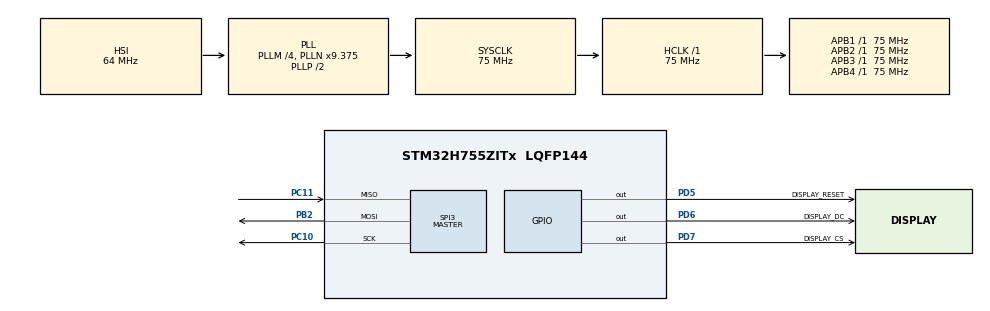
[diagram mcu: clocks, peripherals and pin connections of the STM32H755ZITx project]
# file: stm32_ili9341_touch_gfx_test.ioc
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CortexM4.IPs=FATFS_M4\:I,FREERTOS_M4\:I,IWDG2\:I,RCC,WWDG2\:I,DMA,BDMA,MDMA,NVIC2\:I,DEBUG,PDM2PCM_M4\:I,PWR,RESMGR_UTILITY,SYS_M4\:I,USB_DEVICE_M4\:I,USB_HOST_M4\:I,CORTEX_M4\:I,GPIO,OPENAMP_M4\:I,VREFBUF,LPTIM3\:I
CortexM7.IPs=FATFS_M7\:I,FREERTOS_M7\:I,IWDG1\:I,RCC\:I,WWDG1\:I,DMA\:I,BDMA\:I,MDMA\:I,NVIC1\:I,SYS\:I,CORTEX_M7\:I,DEBUG\:I,PDM2PCM_M7\:I,PWR\:I,RESMGR_UTILITY\:I,USB_DEVICE_M7\:I,USB_HOST_M7\:I,GPIO\:I,OPENAMP_M7\:I,VREFBUF\:I,SPI3\:I,STMicroelectronics.X-CUBE-TOUCHGFX.4.22.1_M7\:I,CRC\:I
CortexM7.Pins=PD5,PD6,PD7
Mcu.Family=STM32H7
Mcu.Name=STM32H755ZITx
Mcu.Package=LQFP144
NVIC1.PriorityGroup=NVIC_PRIORITYGROUP_4
NVIC2.PriorityGroup=NVIC_PRIORITYGROUP_4
PA13\ (JTMS/SWDIO).PinAttribute=CortexM7
PA13\ (JTMS/SWDIO).Signal=DEBUG_JTMS-SWDIO
PA14\ (JTCK/SWCLK).PinAttribute=CortexM7
PA14\ (JTCK/SWCLK).Signal=DEBUG_JTCK-SWCLK
PB2.Mode=Full_Duplex_Master
PB2.PinAttribute=CortexM7
PB2.Signal=SPI3_MOSI
PC10.Mode=Full_Duplex_Master
PC10.PinAttribute=CortexM7
PC10.Signal=SPI3_SCK
PC11.Mode=Full_Duplex_Master
PC11.PinAttribute=CortexM7
PC11.Signal=SPI3_MISO
PD14.Signal=FMC_D0_DA0
PD5.GPIO_Label=DISPLAY_RESET
PD5.PinAttribute=CortexM7
PD5.PinState=GPIO_PIN_SET
PD5.Signal=GPIO_Output
PD6.GPIO_Label=DISPLAY_DC
PD6.PinAttribute=CortexM7
PD6.Signal=GPIO_Output
PD7.GPIO_Label=DISPLAY_CS
PD7.PinAttribute=CortexM7
PD7.PinState=GPIO_PIN_SET
PD7.Signal=GPIO_Output
PH0-OSC_IN\ (PH0).Mode=HSE-External-Oscillator
PH0-OSC_IN\ (PH0).PinAttribute=CortexM7
PH0-OSC_IN\ (PH0).Signal=RCC_OSC_IN
PH1-OSC_OUT\ (PH1).Mode=HSE-External-Oscillator
PH1-OSC_OUT\ (PH1).PinAttribute=CortexM7
PH1-OSC_OUT\ (PH1).Signal=RCC_OSC_OUT
ProjectManager.HeapSize=M4-0x200,M7-0x200
ProjectManager.StackSize=M4-0x400,M7-0x400
ProjectManager.TargetToolchain=STM32CubeIDE
RCC.ADCFreq_Value=34133333.33333333
RCC.APB1Freq_Value=75000000
RCC.APB2Freq_Value=75000000
RCC.APB3Freq_Value=75000000
RCC.APB4Freq_Value=75000000
RCC.CortexFreq_Value=75000000
RCC.DIVM1=4
RCC.DIVM2=27
RCC.DIVN1=9
RCC.DIVN2=72
RCC.DIVP2=5
RCC.DIVQ1=120
RCC.HCLKFreq_Value=75000000
RCC.PLL2FRACN=0
RCC.PLL3FRACN=0
RCC.PLLFRACN=3072
RCC.SPI123CLockSelection=RCC_SPI123CLKSOURCE_PLL2
RCC.SYSCLKFreq_VALUE=75000000
RCC.SYSCLKSource=RCC_SYSCLKSOURCE_PLLCLK
RCC.SupplySource=PWR_DIRECT_SMPS_SUPPLY
RCC.USBFreq_Value=1250000
SH.FMC_D0_DA0.0=FMC_D0
SPI3.CRCCalculation=SPI_CRCCALCULATION_DISABLE
SPI3.CalculateBaudRate=17.066666 MBits/s
SPI3.DataSize=SPI_DATASIZE_8BIT
SPI3.Direction=SPI_DIRECTION_2LINES
SPI3.Mode=SPI_MODE_MASTER
SPI3.VirtualType=VM_MASTER
STMicroelectronics.X-CUBE-TOUCHGFX.4.22.1_IsPackSelfContextualization=true
STMicroelectronics.X-CUBE-TOUCHGFX.4.22.1_M7.ApplicationCcGraphicsJjApplication=TouchGFXOoGenerator
STMicroelectronics.X-CUBE-TOUCHGFX.4.22.1_M7.tgfx_buffering_strategy=Partial
STMicroelectronics.X-CUBE-TOUCHGFX.4.22.1_M7.tgfx_custom_height=240
STMicroelectronics.X-CUBE-TOUCHGFX.4.22.1_M7.tgfx_custom_width=320
STMicroelectronics.X-CUBE-TOUCHGFX.4.22.1_M7.tgfx_oswrapper=NoOS
VP_CRC_VS_CRC.Mode=CRC_Activate
VP_STMicroelectronics.X-CUBE-TOUCHGFX_M7_VS_GraphicsJjApplication_4.22.1.Mode=GraphicsJjApplication
VP_SYS_M4_VS_Systick.Mode=SysTick
board=NUCLEO-H755ZI-Q

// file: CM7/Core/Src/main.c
/* USER CODE BEGIN Header */
/**
  ******************************************************************************
  * @file           : main.c
  * @brief          : Main program body
  ******************************************************************************
  * @attention
  *
  * Copyright (c) 2023 STMicroelectronics.
  * All rights reserved.
  *
  * This software is licensed under terms that can be found in the LICENSE file
  * in the root directory of this software component.
  * If no LICENSE file comes with this software, it is provided AS-IS.
  *
  ******************************************************************************
  */
/* USER CODE END Header */
#include "main.h"
#include "app_touchgfx.h"

/* USER CODE BEGIN Includes */

#include <stdio.h>
#include "graphics.h"
#include "touch.h"

//#include "ili9341.h"

//#include "ILI9341_Touchscreen.h"

//#include "ILI9341_STM32_Driver.h"
//#include "ILI9341_GFX.h"
//#include <stdio.h>
//#include "snow_tiger.h"
//#include "stm32h7xx_hal.h"
/* USER CODE END Includes */

/* USER CODE BEGIN PD */

#ifndef HSEM_ID_0
#define HSEM_ID_0 (0U) /* HW semaphore 0*/
#endif
/* USER CODE END PD */

CRC_HandleTypeDef hcrc;

SPI_HandleTypeDef hspi3;

void SystemClock_Config(void);
static void MX_GPIO_Init(void);
static void MX_SPI3_Init(void);
static void MX_CRC_Init(void);

/* USER CODE BEGIN 0 */
// Function to initialize SPI1

/* USER CODE END 0 */

int main(void)
{
/* USER CODE BEGIN Boot_Mode_Sequence_0 */
  int32_t timeout;
/* USER CODE END Boot_Mode_Sequence_0 */

/* USER CODE BEGIN Boot_Mode_Sequence_1 */
  /* Wait until CPU2 boots and enters in stop mode or timeout*/
  timeout = 0xFFFF;
  while((__HAL_RCC_GET_FLAG(RCC_FLAG_D2CKRDY) != RESET) && (timeout-- > 0));
  if ( timeout < 0 )
  {
  Error_Handler();
  }
/* USER CODE END Boot_Mode_Sequence_1 */
  /* MCU Configuration--------------------------------------------------------*/

  /* Reset of all peripherals, Initializes the Flash interface and the Systick. */
  HAL_Init();

  /* USER CODE BEGIN Init */
  GraphicsInit();
  TouchCalibrate();
  GraphicsClear(BLUE);
  /* USER CODE END Init */

  /* Configure the system clock */
  SystemClock_Config();
/* USER CODE BEGIN Boot_Mode_Sequence_2 */
/* When system initialization is finished, Cortex-M7 will release Cortex-M4 by means of
HSEM notification */
/*HW semaphore Clock enable*/
__HAL_RCC_HSEM_CLK_ENABLE();
/*Take HSEM */
HAL_HSEM_FastTake(HSEM_ID_0);
/*Release HSEM in order to notify the CPU2(CM4)*/
HAL_HSEM_Release(HSEM_ID_0,0);
/* wait until CPU2 wakes up from stop mode */
timeout = 0xFFFF;
while((__HAL_RCC_GET_FLAG(RCC_FLAG_D2CKRDY) == RESET) && (timeout-- > 0));
if ( timeout < 0 )
{
Error_Handler();
}
/* USER CODE END Boot_Mode_Sequence_2 */

  /* Initialize all configured peripherals */
  MX_GPIO_Init();
  MX_SPI3_Init();
  MX_CRC_Init();
  MX_TouchGFX_Init();

  /* Infinite loop */
  /* USER CODE BEGIN WHILE */

//  ILI9341_Init();

//  MX_TouchGFX_Init();
//
//  uint32_t my_display = 0;
//  BSP_LCD_Init(my_display, LCD_ORIENTATION_PORTRAIT);
//
//  uint8_t color = 0;
//  uint8_t rect[10] ={ color,color,color,color,color,color,color,color,color,color};
//  uint8_t status_u8=0;
//  status_u8 = BSP_LCD_FillRGBRect(my_display, 0, rect, 100, 100, 10, 1);
  while (1)
  {
//	  ILI9341_Fill_Screen(WHITE);
//	  		ILI9341_Set_Rotation(SCREEN_HORIZONTAL_2);
//	  		ILI9341_Draw_Text("FPS TEST, 40 loop 2 screens", 10, 10, BLACK, 1, WHITE);
//	  		HAL_Delay(2000);
//	  		ILI9341_Fill_Screen(WHITE);
//
//
//	  //----------------------------------------------------------IMAGE EXAMPLE, Snow Tiger
//	  		ILI9341_Fill_Screen(WHITE);
//	  		ILI9341_Set_Rotation(SCREEN_HORIZONTAL_2);
//	  		ILI9341_Draw_Text("RGB Picture", 10, 10, BLACK, 1, WHITE);
//	  		ILI9341_Draw_Text("TIGER", 10, 20, BLACK, 1, WHITE);
//	  		HAL_Delay(2000);
//	  		ILI9341_Draw_Image((const char*)snow_tiger, SCREEN_VERTICAL_2);
//	  		ILI9341_Set_Rotation(SCREEN_VERTICAL_1);
//	  		HAL_Delay(10000);
//	  MX_TouchGFX_Process();

		GraphicsFilledRectangle(50, 200, 50, 15, BLACK);

		if (TouchIsTouched())
		{
		  GraphicsLargeString(50, 200, "Down", YELLOW);
		}
		else
		{
		  GraphicsLargeString(50, 200, "Up", YELLOW);
		}

		if (TouchGetCalibratedPoint(&x, &y))
		{
			if(x >=0 && x<=120 && y>=0 && y<=15)
			{
				GraphicsClear(BLUE);
			}

			char buf[20];
			sprintf(buf, "%hd %hd", x, y);
			GraphicsFilledRectangle(0, 0, 120, 15, BLACK);
			GraphicsLargeString(0, 0, buf, YELLOW);
			GraphicsFilledCircle(x, y, 3, YELLOW);
		}
	  HAL_Delay(2000);

    /* USER CODE END WHILE */

  MX_TouchGFX_Process();
  }
}

void SystemClock_Config(void)
{
  RCC_OscInitTypeDef RCC_OscInitStruct = {0};
  RCC_ClkInitTypeDef RCC_ClkInitStruct = {0};

  /** Supply configuration update enable
  */
  HAL_PWREx_ConfigSupply(PWR_DIRECT_SMPS_SUPPLY);

  /** Configure the main internal regulator output voltage
  */
  __HAL_PWR_VOLTAGESCALING_CONFIG(PWR_REGULATOR_VOLTAGE_SCALE3);

  while(!__HAL_PWR_GET_FLAG(PWR_FLAG_VOSRDY)) {}

  /** Macro to configure the PLL clock source
  */
  __HAL_RCC_PLL_PLLSOURCE_CONFIG(RCC_PLLSOURCE_HSI);

  /** Initializes the RCC Oscillators according to the specified parameters
  * in the RCC_OscInitTypeDef structure.
  */
  RCC_OscInitStruct.OscillatorType = RCC_OSCILLATORTYPE_HSI;
  RCC_OscInitStruct.HSIState = RCC_HSI_DIV1;
  RCC_OscInitStruct.HSICalibrationValue = RCC_HSICALIBRATION_DEFAULT;
  RCC_OscInitStruct.PLL.PLLState = RCC_PLL_ON;
  RCC_OscInitStruct.PLL.PLLSource = RCC_PLLSOURCE_HSI;
  RCC_OscInitStruct.PLL.PLLM = 4;
  RCC_OscInitStruct.PLL.PLLN = 9;
  RCC_OscInitStruct.PLL.PLLP = 2;
  RCC_OscInitStruct.PLL.PLLQ = 120;
  RCC_OscInitStruct.PLL.PLLR = 2;
  RCC_OscInitStruct.PLL.PLLRGE = RCC_PLL1VCIRANGE_3;
  RCC_OscInitStruct.PLL.PLLVCOSEL = RCC_PLL1VCOMEDIUM;
  RCC_OscInitStruct.PLL.PLLFRACN = 3072;
  if (HAL_RCC_OscConfig(&RCC_OscInitStruct) != HAL_OK)
  {
    Error_Handler();
  }

  /** Initializes the CPU, AHB and APB buses clocks
  */
  RCC_ClkInitStruct.ClockType = RCC_CLOCKTYPE_HCLK|RCC_CLOCKTYPE_SYSCLK
                              |RCC_CLOCKTYPE_PCLK1|RCC_CLOCKTYPE_PCLK2
                              |RCC_CLOCKTYPE_D3PCLK1|RCC_CLOCKTYPE_D1PCLK1;
  RCC_ClkInitStruct.SYSCLKSource = RCC_SYSCLKSOURCE_PLLCLK;
  RCC_ClkInitStruct.SYSCLKDivider = RCC_SYSCLK_DIV1;
  RCC_ClkInitStruct.AHBCLKDivider = RCC_HCLK_DIV1;
  RCC_ClkInitStruct.APB3CLKDivider = RCC_APB3_DIV1;
  RCC_ClkInitStruct.APB1CLKDivider = RCC_APB1_DIV1;
  RCC_ClkInitStruct.APB2CLKDivider = RCC_APB2_DIV1;
  RCC_ClkInitStruct.APB4CLKDivider = RCC_APB4_DIV1;

  if (HAL_RCC_ClockConfig(&RCC_ClkInitStruct, FLASH_LATENCY_1) != HAL_OK)
  {
    Error_Handler();
  }
}

static void MX_CRC_Init(void)
{

  hcrc.Instance = CRC;
  hcrc.Init.DefaultPolynomialUse = DEFAULT_POLYNOMIAL_ENABLE;
  hcrc.Init.DefaultInitValueUse = DEFAULT_INIT_VALUE_ENABLE;
  hcrc.Init.InputDataInversionMode = CRC_INPUTDATA_INVERSION_NONE;
  hcrc.Init.OutputDataInversionMode = CRC_OUTPUTDATA_INVERSION_DISABLE;
  hcrc.InputDataFormat = CRC_INPUTDATA_FORMAT_BYTES;
  if (HAL_CRC_Init(&hcrc) != HAL_OK)
  {
    Error_Handler();
  }

}

static void MX_SPI3_Init(void)
{

  /* SPI3 parameter configuration*/
  hspi3.Instance = SPI3;
  hspi3.Init.Mode = SPI_MODE_MASTER;
  hspi3.Init.Direction = SPI_DIRECTION_2LINES;
  hspi3.Init.DataSize = SPI_DATASIZE_8BIT;
  hspi3.Init.CLKPolarity = SPI_POLARITY_LOW;
  hspi3.Init.CLKPhase = SPI_PHASE_1EDGE;
  hspi3.Init.NSS = SPI_NSS_SOFT;
  hspi3.Init.BaudRatePrescaler = SPI_BAUDRATEPRESCALER_2;
  hspi3.Init.FirstBit = SPI_FIRSTBIT_MSB;
  hspi3.Init.TIMode = SPI_TIMODE_DISABLE;
  hspi3.Init.CRCCalculation = SPI_CRCCALCULATION_DISABLE;
  hspi3.Init.CRCPolynomial = 0x0;
  hspi3.Init.NSSPMode = SPI_NSS_PULSE_ENABLE;
  hspi3.Init.NSSPolarity = SPI_NSS_POLARITY_LOW;
  hspi3.Init.FifoThreshold = SPI_FIFO_THRESHOLD_01DATA;
  hspi3.Init.TxCRCInitializationPattern = SPI_CRC_INITIALIZATION_ALL_ZERO_PATTERN;
  hspi3.Init.RxCRCInitializationPattern = SPI_CRC_INITIALIZATION_ALL_ZERO_PATTERN;
  hspi3.Init.MasterSSIdleness = SPI_MASTER_SS_IDLENESS_00CYCLE;
  hspi3.Init.MasterInterDataIdleness = SPI_MASTER_INTERDATA_IDLENESS_00CYCLE;
  hspi3.Init.MasterReceiverAutoSusp = SPI_MASTER_RX_AUTOSUSP_DISABLE;
  hspi3.Init.MasterKeepIOState = SPI_MASTER_KEEP_IO_STATE_DISABLE;
  hspi3.Init.IOSwap = SPI_IO_SWAP_DISABLE;
  if (HAL_SPI_Init(&hspi3) != HAL_OK)
  {
    Error_Handler();
  }

}

static void MX_GPIO_Init(void)
{
  GPIO_InitTypeDef GPIO_InitStruct = {0};

  /* GPIO Ports Clock Enable */
  __HAL_RCC_GPIOH_CLK_ENABLE();
  __HAL_RCC_GPIOB_CLK_ENABLE();
  __HAL_RCC_GPIOA_CLK_ENABLE();
  __HAL_RCC_GPIOC_CLK_ENABLE();
  __HAL_RCC_GPIOD_CLK_ENABLE();

  /*Configure GPIO pin Output Level */
  HAL_GPIO_WritePin(GPIOD, DISPLAY_RESET_Pin|DISPLAY_CS_Pin, GPIO_PIN_SET);

  /*Configure GPIO pin Output Level */
  HAL_GPIO_WritePin(DISPLAY_DC_GPIO_Port, DISPLAY_DC_Pin, GPIO_PIN_RESET);

  /*Configure GPIO pins : DISPLAY_RESET_Pin DISPLAY_DC_Pin DISPLAY_CS_Pin */
  GPIO_InitStruct.Pin = DISPLAY_RESET_Pin|DISPLAY_DC_Pin|DISPLAY_CS_Pin;
  GPIO_InitStruct.Mode = GPIO_MODE_OUTPUT_PP;
  GPIO_InitStruct.Pull = GPIO_NOPULL;
  GPIO_InitStruct.Speed = GPIO_SPEED_FREQ_LOW;
  HAL_GPIO_Init(GPIOD, &GPIO_InitStruct);

}

void Error_Handler(void)
{
  __disable_irq();
  while (1)
  {
  }
}
